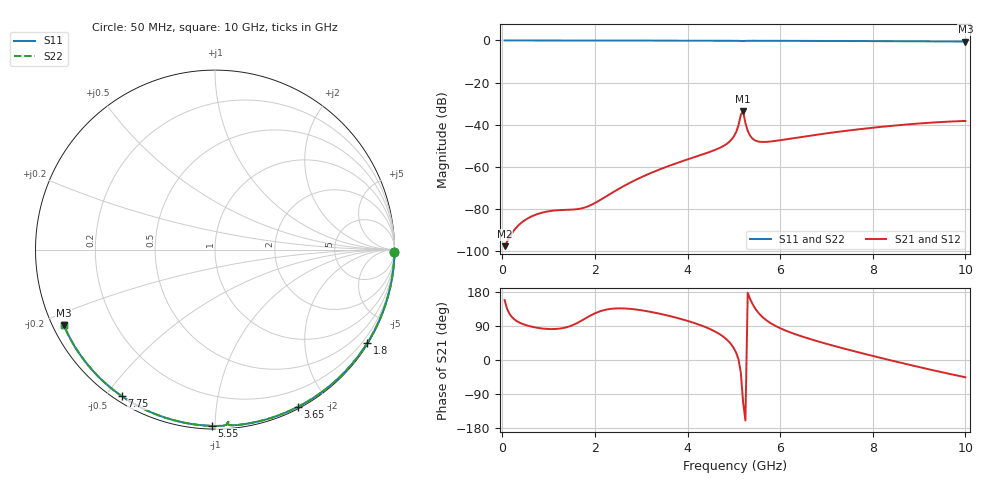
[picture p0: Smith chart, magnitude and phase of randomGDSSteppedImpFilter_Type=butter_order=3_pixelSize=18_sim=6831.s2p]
! freq	dB(S11)	phase(S11)	dB(S12)	phase(S12)
!  dB(S21)	phase(S21)	dB(S22)	phase(S22)
!S-par simulation data
#  GHz  S  DB  R 50
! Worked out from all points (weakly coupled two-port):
!   200 points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, 50 MHz to 10 GHz, reference 50 ohm
!   highest |S21| = -33.67 dB at 5.2 GHz (marker M1); lowest = -97.6 dB at 50 MHz (marker M2)
!   lowest |S11| = -0.5 dB at 10 GHz (marker M3), VSWR 33.31, Z = 1.58 - j11.8 ohm
!   |S11| at or under -10 dB: nowhere
!   |S22| runs from -0.5 to 0.0 dB; largest |S21 - S12| = 0
!   S11 on the Smith chart (normalised r, x): 50 MHz: open; 1.8 GHz: 0.03, -3.55; 3.65 GHz: 0.02, -1.66; 5.55 GHz: 0.02, -0.98; 7.75 GHz: 0.02, -0.55; 10 GHz: 0.03, -0.24
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0.05  -0.00 -0.9  -97.61 158.0  -97.61 158.0  -0.00 -0.9
0.85  -0.02 -15.0  -81.75 83.3  -81.75 83.3  -0.02 -15.0
1.75  -0.04 -30.6  -79.46 106.6  -79.46 106.6  -0.04 -30.7
1.8  -0.04 -31.5  -79.12 110.1  -79.12 110.1  -0.04 -31.5
2.8  -0.06 -48.3  -67.03 134.5  -67.03 134.5  -0.06 -48.4
3.4  -0.08 -58.2  -61.17 122.1  -61.17 122.1  -0.08 -58.2
3.65  -0.08 -62.2  -59.11 115.0  -59.11 115.0  -0.08 -62.2
4.75  -0.12 -79.4  -50.38 63.5  -50.38 63.5  -0.12 -79.5
4.95  -0.13 -82.6  -47.03 40.1  -47.03 40.1  -0.13 -82.6
5.05  -0.14 -84.2  -43.45 19.2  -43.45 19.2  -0.14 -84.3
5.1  -0.16 -85.1  -40.27 1.9  -40.27 1.9  -0.16 -85.2
5.15  -0.25 -86.1  -35.27 -32.4  -35.27 -32.4  -0.25 -86.2
5.2  -0.33 -85.6  -33.67 -111.5  -33.67 -111.5  -0.33 -85.6
5.25  -0.19 -86.2  -39.18 -159.7  -39.18 -159.7  -0.19 -86.2
5.3  -0.16 -87.1  -42.92 177.4  -42.92 177.4  -0.16 -87.2
5.35  -0.15 -88.0  -45.15 161.3  -45.15 161.3  -0.15 -88.0
5.45  -0.15 -89.6  -47.33 138.1  -47.33 138.1  -0.15 -89.6
5.55  -0.15 -91.1  -48.05 121.9  -48.05 121.9  -0.15 -91.2
6.7  -0.21 -107.8  -45.00 53.3  -45.00 53.3  -0.21 -107.8
7.75  -0.28 -122.4  -42.02 18.4  -42.02 18.4  -0.29 -122.5
8.35  -0.34 -130.7  -40.63 0.2  -40.63 0.2  -0.34 -130.8
10  -0.52 -153.5  -38.18 -45.5  -38.18 -45.5  -0.52 -153.6
